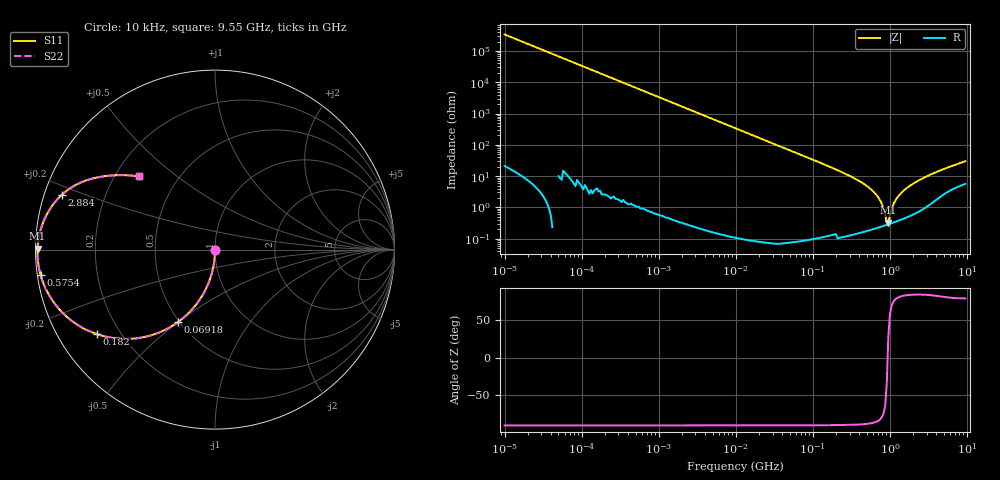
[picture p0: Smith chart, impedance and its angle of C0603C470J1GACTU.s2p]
! C0603C470K1GAC
! Temp = 25?C, Bias = 0VDC, Shunt
! KEMET S2P Model
# HZ S DB R 50
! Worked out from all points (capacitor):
!   300 points, 10 kHz to 9.55 GHz, reference 50 ohm
!   read as one part in shunt: C = 47.3 pF near 10.47 kHz
!   lowest |Z| = 326 mohm at 955 MHz (marker M1)
!   series resonance near 935.4 MHz, so ESL is about 610 pH
!   S11 on the Smith chart (normalised r, x): 10 kHz: 1.00, -0.00; 69.18 MHz: 0.49, -0.50; 182 MHz: 0.12, -0.32; 575.4 MHz: 0.01, -0.07; 2.884 GHz: 0.05, +0.17; 9.55 GHz: 0.30, +0.37
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10000  -82.58 -90.0  0.00 -0.0  0.00 -0.0  -82.58 -90.0
13803.84  -79.78 -90.0  0.00 -0.0  0.00 -0.0  -79.78 -90.0
100000  -62.58 -90.1  -0.00 -0.0  -0.00 -0.0  -62.58 -90.1
1000000  -42.58 -90.4  -0.00 -0.4  -0.00 -0.4  -42.58 -90.4
1e7  -22.65 -94.2  -0.02 -4.2  -0.02 -4.2  -22.65 -94.2
3.311311e7  -12.49 -103.8  -0.25 -13.7  -0.25 -13.7  -12.49 -103.8
6.918312e7  -6.83 -117.2  -1.02 -27.1  -1.02 -27.1  -6.83 -117.2
1e8  -4.49 -126.8  -1.93 -36.6  -1.93 -36.6  -4.49 -126.8
1.819702e8  -1.84 -144.4  -4.70 -54.0  -4.70 -54.0  -1.84 -144.4
3.630784e8  -0.47 -162.4  -10.39 -71.4  -10.39 -71.4  -0.47 -162.4
5.754403e8  -0.16 -171.7  -16.77 -78.7  -16.77 -78.7  -0.16 -171.7
7.585778e8  -0.10 -176.5  -24.19 -77.7  -24.19 -77.7  -0.10 -176.5
8.317639e8  -0.09 -178.0  -28.99 -71.4  -28.99 -71.4  -0.09 -178.0
9.120109e8  -0.10 -179.6  -37.63 -33.2  -37.63 -33.2  -0.10 -179.6
9.549916e8  -0.10 179.7  -37.78 27.8  -37.78 27.8  -0.10 179.7
1e9  -0.10 178.9  -33.18 56.3  -33.18 56.3  -0.10 178.9
1.148155e9  -0.13 176.8  -24.74 73.5  -24.74 73.5  -0.13 176.8
1.380385e9  -0.19 173.8  -19.28 75.6  -19.28 75.6  -0.19 173.8
1.90546e9  -0.37 168.4  -13.86 72.3  -13.86 72.3  -0.37 168.4
2.884032e9  -0.85 160.3  -9.41 64.4  -9.41 64.4  -0.85 160.3
5.01187e9  -2.21 148.9  -5.63 50.0  -5.63 50.0  -2.21 148.9
9.549916e9  -4.60 136.2  -3.04 35.3  -3.04 35.3  -4.60 136.2
